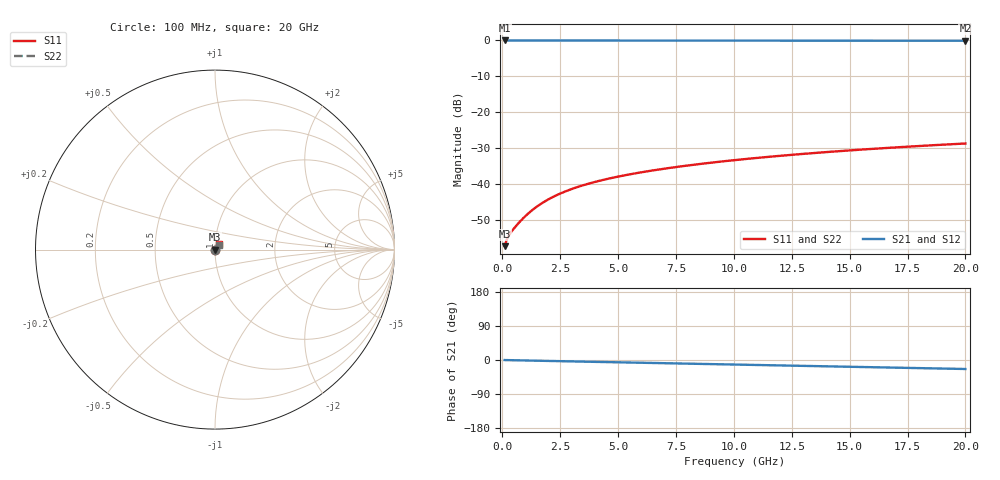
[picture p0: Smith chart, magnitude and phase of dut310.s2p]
! Touchstone file exported from HFSS 2026.1.0
!  File:  C:/ffzhzh/LocalFiles/Ansys_Project_Files/temp_train_TMRDL_310_1783003295_55676.aedt
!  Generated:  10:43:03 PM Jul  2, 2026
!  Design:  TMRDL
!  Project:  temp_train_TMRDL_310_1783003295_55676
! Variables:
!  h_bsmrdl = 2um
!  h_ox = 20um
!  h_rdl = 5um
!  h_sub = 80um
!  h_tmrdl = 5.48um
!  h_tsv = 80um
!  h_via = 3um
!  l_bsmrdl = 300um
!  l_sub = 812.94um
!  l_tmrdl = 412.94um
!  m_sub = 200um
!  pitch = 34.64um
!  r_tsv = 6um
!  s_tmrdl = 10um
!  w_bsmrdl = 18um
!  w_sub = 500um
!  w_tmrdl = 27.44um
!  x_tsv_center1 = 426.66um
!  x_tsv_center2 = 744.66um
!  x_tsv_center3 = 1185.04um
!  x_tsv_center4 = 1503.04um
!  x_tsv_center5 = 1943.42um
!  x_tsv_center6 = 2261.42um
# GHz S MA R 50.000000
! Terminal data exported
! Port[1] = TM_RDL1_1_T1
! Port[2] = TM_RDL1_1_T2
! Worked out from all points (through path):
!   200 points, 100 MHz to 20 GHz, reference 50 ohm
!   highest |S21| = -0.01 dB at 100 MHz (marker M1); lowest = -0.1 dB at 20 GHz (marker M2)
!   group delay of S21, straight-line fit = 3.28 ps
!   lowest |S11| = -57.4 dB at 100 MHz (marker M3), VSWR 1.00, Z = 50.1 + j0.0552 ohm
!   |S11| at or under -10 dB: start of sweep to end of sweep
!   |S22| runs from -57.4 to -28.8 dB; largest |S21 - S12| = 1.1e-14
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0.1  0.001346 24.1  0.9988 -0.1  0.9988 -0.1  0.001346 24.1
! Gamma 0 0 0 0
! Port Impedance 50 0 50 0
0.2  0.001689 31.9  0.9986 -0.3  0.9986 -0.3  0.001689 31.9
0.3  0.001942 36.2  0.9984 -0.4  0.9984 -0.4  0.001943 36.2
0.5  0.002373 43.7  0.9982 -0.6  0.9982 -0.6  0.002374 43.7
0.7  0.00282 49.8  0.9981 -0.9  0.9981 -0.9  0.002821 49.8
0.9  0.003297 54.2  0.998 -1.1  0.998 -1.1  0.003298 54.2
1.1  0.003796 57.4  0.9979 -1.4  0.9979 -1.4  0.003796 57.4
1.4  0.00456 60.4  0.9978 -1.7  0.9978 -1.7  0.00456 60.4
1.8  0.005579 62.6  0.9976 -2.2  0.9976 -2.2  0.005579 62.6
2.3  0.006818 63.8  0.9972 -2.8  0.9972 -2.8  0.006818 63.8
2.9  0.008228 64.1  0.9968 -3.6  0.9968 -3.6  0.008228 64.1
3.5  0.009554 63.9  0.9964 -4.3  0.9964 -4.3  0.009555 63.9
4.2  0.01101 63.6  0.9959 -5.1  0.9959 -5.1  0.01101 63.5
4.9  0.01239 63.1  0.9955 -6.0  0.9955 -6.0  0.01239 63.1
5.8  0.01408 62.5  0.995 -7.0  0.995 -7.0  0.01408 62.5
6.8  0.01588 61.9  0.9945 -8.2  0.9945 -8.2  0.01588 61.9
8.3  0.01848 60.9  0.9938 -10.0  0.9938 -10.0  0.01848 60.9
10.1  0.02148 59.7  0.993 -12.1  0.993 -12.1  0.02149 59.6
11.7  0.02407 58.5  0.9924 -14.0  0.9924 -14.0  0.02408 58.4
13.4  0.02675 57.1  0.9918 -16.0  0.9918 -16.0  0.02676 57.0
16.7  0.03174 54.3  0.9907 -19.9  0.9907 -19.9  0.03176 54.2
20  0.03646 51.3  0.9896 -23.7  0.9896 -23.7  0.03649 51.1
